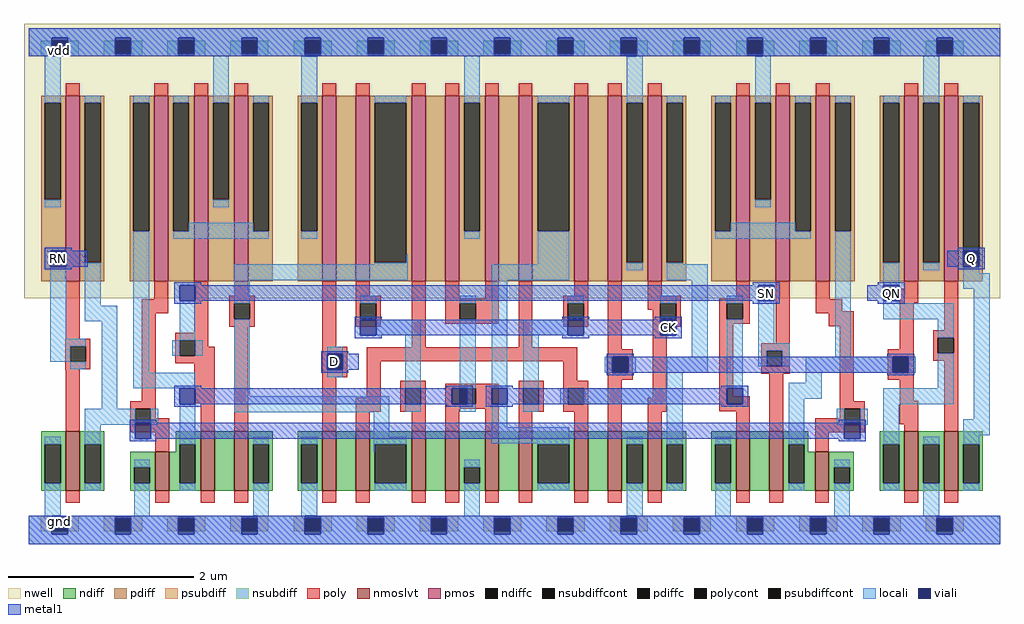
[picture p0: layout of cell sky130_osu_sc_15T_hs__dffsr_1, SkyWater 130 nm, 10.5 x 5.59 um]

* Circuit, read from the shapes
.subckt sky130_osu_sc_15T_hs__dffsr_1 D CK QN SN RN Q
XM1 n1 RN gnd gnd sky130_fd_pr__nfet_01v8_lvt w=0.64 l=0.15
XM2 n2 n1 gnd gnd sky130_fd_pr__nfet_01v8_lvt w=0.42 l=0.15
XM3 n3 SN n2 gnd sky130_fd_pr__nfet_01v8_lvt w=0.64 l=0.15
XM4 gnd n4 n3 gnd sky130_fd_pr__nfet_01v8_lvt w=0.64 l=0.15
XM5 n5 D gnd gnd sky130_fd_pr__nfet_01v8_lvt w=0.64 l=0.15
XM6 n4 n6 n5 gnd sky130_fd_pr__nfet_01v8_lvt w=0.64 l=0.15
XM7 n7 CK n4 gnd sky130_fd_pr__nfet_01v8_lvt w=0.64 l=0.15
XM8 gnd n2 n7 gnd sky130_fd_pr__nfet_01v8_lvt w=0.64 l=0.15
XM9 n8 n2 gnd gnd sky130_fd_pr__nfet_01v8_lvt w=0.64 l=0.15
XM10 n9 CK n8 gnd sky130_fd_pr__nfet_01v8_lvt w=0.64 l=0.15
XM11 n10 n6 n9 gnd sky130_fd_pr__nfet_01v8_lvt w=0.64 l=0.15
XM12 gnd n11 n10 gnd sky130_fd_pr__nfet_01v8_lvt w=0.64 l=0.15
XM13 n6 CK gnd gnd sky130_fd_pr__nfet_01v8_lvt w=0.64 l=0.15
XM14 n12 n9 gnd gnd sky130_fd_pr__nfet_01v8_lvt w=0.64 l=0.15
XM15 n11 SN n12 gnd sky130_fd_pr__nfet_01v8_lvt w=0.64 l=0.15
XM16 gnd n1 n11 gnd sky130_fd_pr__nfet_01v8_lvt w=0.42 l=0.15
XM17 gnd n11 QN gnd sky130_fd_pr__nfet_01v8_lvt w=0.64 l=0.15
XM18 Q QN gnd gnd sky130_fd_pr__nfet_01v8_lvt w=0.64 l=0.15
XM19 n1 RN vdd vdd sky130_fd_pr__pfet_01v8 w=2 l=0.15
XM20 n13 n1 n2 vdd sky130_fd_pr__pfet_01v8 w=2 l=0.15
XM21 vdd SN n13 vdd sky130_fd_pr__pfet_01v8 w=2 l=0.15
XM22 n13 n4 vdd vdd sky130_fd_pr__pfet_01v8 w=2 l=0.15
XM23 n14 D vdd vdd sky130_fd_pr__pfet_01v8 w=2 l=0.15
XM24 n4 CK n14 vdd sky130_fd_pr__pfet_01v8 w=2 l=0.15
XM25 n15 n6 n4 vdd sky130_fd_pr__pfet_01v8 w=2 l=0.15
XM26 vdd n2 n15 vdd sky130_fd_pr__pfet_01v8 w=2 l=0.15
XM27 n16 n2 vdd vdd sky130_fd_pr__pfet_01v8 w=2 l=0.15
XM28 n9 n6 n16 vdd sky130_fd_pr__pfet_01v8 w=2 l=0.15
XM29 n17 CK n9 vdd sky130_fd_pr__pfet_01v8 w=2 l=0.15
XM30 vdd n11 n17 vdd sky130_fd_pr__pfet_01v8 w=2 l=0.15
XM31 n6 CK vdd vdd sky130_fd_pr__pfet_01v8 w=2 l=0.15
XM32 vdd n9 n18 vdd sky130_fd_pr__pfet_01v8 w=2 l=0.15
XM33 n18 SN vdd vdd sky130_fd_pr__pfet_01v8 w=2 l=0.15
XM34 n11 n1 n18 vdd sky130_fd_pr__pfet_01v8 w=2 l=0.15
XM35 vdd n11 QN vdd sky130_fd_pr__pfet_01v8 w=2 l=0.15
XM36 Q QN vdd vdd sky130_fd_pr__pfet_01v8 w=2 l=0.15
.ends

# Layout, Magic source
magic
tech sky130A
magscale 1 2
<< nwell >>
rect -10 529 2090 1119
<< nmoslvt >>
rect 80 115 110 243
rect 272 115 302 199
rect 370 115 400 243
rect 442 115 472 243
rect 632 115 662 243
rect 704 115 734 243
rect 824 115 854 243
rect 896 115 926 243
rect 982 115 1012 243
rect 1054 115 1084 243
rect 1174 115 1204 243
rect 1246 115 1276 243
rect 1332 115 1362 243
rect 1522 115 1552 243
rect 1594 115 1624 243
rect 1692 115 1722 199
rect 1884 115 1914 243
rect 1970 115 2000 243
<< pmos >>
rect 80 565 110 965
rect 270 565 300 965
rect 356 565 386 965
rect 442 565 472 965
rect 632 565 662 965
rect 704 565 734 965
rect 824 565 854 965
rect 896 565 926 965
rect 982 565 1012 965
rect 1054 565 1084 965
rect 1174 565 1204 965
rect 1246 565 1276 965
rect 1332 565 1362 965
rect 1522 565 1552 965
rect 1608 565 1638 965
rect 1694 565 1724 965
rect 1884 565 1914 965
rect 1970 565 2000 965
<< ndiff >>
rect 27 215 80 243
rect 27 131 35 215
rect 69 131 80 215
rect 27 115 80 131
rect 110 215 163 243
rect 110 131 121 215
rect 155 131 163 215
rect 317 215 370 243
rect 317 199 325 215
rect 110 115 163 131
rect 219 165 272 199
rect 219 131 227 165
rect 261 131 272 165
rect 219 115 272 131
rect 302 131 325 199
rect 359 131 370 215
rect 302 115 370 131
rect 400 115 442 243
rect 472 215 525 243
rect 472 131 483 215
rect 517 131 525 215
rect 472 115 525 131
rect 579 215 632 243
rect 579 131 587 215
rect 621 131 632 215
rect 579 115 632 131
rect 662 115 704 243
rect 734 215 824 243
rect 734 131 745 215
rect 813 131 824 215
rect 734 115 824 131
rect 854 115 896 243
rect 926 165 982 243
rect 926 131 937 165
rect 971 131 982 165
rect 926 115 982 131
rect 1012 115 1054 243
rect 1084 215 1174 243
rect 1084 131 1095 215
rect 1163 131 1174 215
rect 1084 115 1174 131
rect 1204 115 1246 243
rect 1276 215 1332 243
rect 1276 131 1287 215
rect 1321 131 1332 215
rect 1276 115 1332 131
rect 1362 215 1415 243
rect 1362 131 1373 215
rect 1407 131 1415 215
rect 1362 115 1415 131
rect 1469 215 1522 243
rect 1469 131 1477 215
rect 1511 131 1522 215
rect 1469 115 1522 131
rect 1552 115 1594 243
rect 1624 215 1677 243
rect 1624 131 1635 215
rect 1669 199 1677 215
rect 1831 215 1884 243
rect 1669 131 1692 199
rect 1624 115 1692 131
rect 1722 165 1775 199
rect 1722 131 1733 165
rect 1767 131 1775 165
rect 1722 115 1775 131
rect 1831 131 1839 215
rect 1873 131 1884 215
rect 1831 115 1884 131
rect 1914 215 1970 243
rect 1914 131 1925 215
rect 1959 131 1970 215
rect 1914 115 1970 131
rect 2000 215 2053 243
rect 2000 131 2011 215
rect 2045 131 2053 215
rect 2000 115 2053 131
<< pdiff >>
rect 27 949 80 965
rect 27 741 35 949
rect 69 741 80 949
rect 27 565 80 741
rect 110 949 163 965
rect 110 605 121 949
rect 155 605 163 949
rect 110 565 163 605
rect 217 949 270 965
rect 217 673 225 949
rect 259 673 270 949
rect 217 565 270 673
rect 300 949 356 965
rect 300 673 311 949
rect 345 673 356 949
rect 300 565 356 673
rect 386 949 442 965
rect 386 741 397 949
rect 431 741 442 949
rect 386 565 442 741
rect 472 949 525 965
rect 472 673 483 949
rect 517 673 525 949
rect 472 565 525 673
rect 579 949 632 965
rect 579 673 587 949
rect 621 673 632 949
rect 579 565 632 673
rect 662 565 704 965
rect 734 949 824 965
rect 734 605 745 949
rect 813 605 824 949
rect 734 565 824 605
rect 854 565 896 965
rect 926 949 982 965
rect 926 673 937 949
rect 971 673 982 949
rect 926 565 982 673
rect 1012 565 1054 965
rect 1084 949 1174 965
rect 1084 673 1095 949
rect 1163 673 1174 949
rect 1084 565 1174 673
rect 1204 565 1246 965
rect 1276 949 1332 965
rect 1276 605 1287 949
rect 1321 605 1332 949
rect 1276 565 1332 605
rect 1362 949 1415 965
rect 1362 605 1373 949
rect 1407 605 1415 949
rect 1362 565 1415 605
rect 1469 949 1522 965
rect 1469 673 1477 949
rect 1511 673 1522 949
rect 1469 565 1522 673
rect 1552 949 1608 965
rect 1552 741 1563 949
rect 1597 741 1608 949
rect 1552 565 1608 741
rect 1638 949 1694 965
rect 1638 673 1649 949
rect 1683 673 1694 949
rect 1638 565 1694 673
rect 1724 949 1777 965
rect 1724 673 1735 949
rect 1769 673 1777 949
rect 1724 565 1777 673
rect 1831 949 1884 965
rect 1831 605 1839 949
rect 1873 605 1884 949
rect 1831 565 1884 605
rect 1914 949 1970 965
rect 1914 605 1925 949
rect 1959 605 1970 949
rect 1914 565 1970 605
rect 2000 949 2053 965
rect 2000 605 2011 949
rect 2045 605 2053 949
rect 2000 565 2053 605
<< ndiffc >>
rect 35 131 69 215
rect 121 131 155 215
rect 227 131 261 165
rect 325 131 359 215
rect 483 131 517 215
rect 587 131 621 215
rect 745 131 813 215
rect 937 131 971 165
rect 1095 131 1163 215
rect 1287 131 1321 215
rect 1373 131 1407 215
rect 1477 131 1511 215
rect 1635 131 1669 215
rect 1733 131 1767 165
rect 1839 131 1873 215
rect 1925 131 1959 215
rect 2011 131 2045 215
<< pdiffc >>
rect 35 741 69 949
rect 121 605 155 949
rect 225 673 259 949
rect 311 673 345 949
rect 397 741 431 949
rect 483 673 517 949
rect 587 673 621 949
rect 745 605 813 949
rect 937 673 971 949
rect 1095 673 1163 949
rect 1287 605 1321 949
rect 1373 605 1407 949
rect 1477 673 1511 949
rect 1563 741 1597 949
rect 1649 673 1683 949
rect 1735 673 1769 949
rect 1839 605 1873 949
rect 1925 605 1959 949
rect 2011 605 2045 949
<< psubdiff >>
rect 26 27 50 61
rect 84 27 108 61
rect 162 27 186 61
rect 220 27 244 61
rect 298 27 322 61
rect 356 27 380 61
rect 434 27 458 61
rect 492 27 516 61
rect 570 27 594 61
rect 628 27 652 61
rect 706 27 730 61
rect 764 27 788 61
rect 842 27 866 61
rect 900 27 924 61
rect 978 27 1002 61
rect 1036 27 1060 61
rect 1114 27 1138 61
rect 1172 27 1196 61
rect 1250 27 1274 61
rect 1308 27 1332 61
rect 1386 27 1410 61
rect 1444 27 1468 61
rect 1522 27 1546 61
rect 1580 27 1604 61
rect 1658 27 1682 61
rect 1716 27 1740 61
rect 1794 27 1818 61
rect 1852 27 1876 61
rect 1930 27 1954 61
rect 1988 27 2012 61
<< nsubdiff >>
rect 26 1049 50 1083
rect 84 1049 108 1083
rect 162 1049 186 1083
rect 220 1049 244 1083
rect 298 1049 322 1083
rect 356 1049 380 1083
rect 434 1049 458 1083
rect 492 1049 516 1083
rect 570 1049 594 1083
rect 628 1049 652 1083
rect 706 1049 730 1083
rect 764 1049 788 1083
rect 842 1049 866 1083
rect 900 1049 924 1083
rect 978 1049 1002 1083
rect 1036 1049 1060 1083
rect 1114 1049 1138 1083
rect 1172 1049 1196 1083
rect 1250 1049 1274 1083
rect 1308 1049 1332 1083
rect 1386 1049 1410 1083
rect 1444 1049 1468 1083
rect 1522 1049 1546 1083
rect 1580 1049 1604 1083
rect 1658 1049 1682 1083
rect 1716 1049 1740 1083
rect 1794 1049 1818 1083
rect 1852 1049 1876 1083
rect 1930 1049 1954 1083
rect 1988 1049 2012 1083
<< psubdiffcont >>
rect 50 27 84 61
rect 186 27 220 61
rect 322 27 356 61
rect 458 27 492 61
rect 594 27 628 61
rect 730 27 764 61
rect 866 27 900 61
rect 1002 27 1036 61
rect 1138 27 1172 61
rect 1274 27 1308 61
rect 1410 27 1444 61
rect 1546 27 1580 61
rect 1682 27 1716 61
rect 1818 27 1852 61
rect 1954 27 1988 61
<< nsubdiffcont >>
rect 50 1049 84 1083
rect 186 1049 220 1083
rect 322 1049 356 1083
rect 458 1049 492 1083
rect 594 1049 628 1083
rect 730 1049 764 1083
rect 866 1049 900 1083
rect 1002 1049 1036 1083
rect 1138 1049 1172 1083
rect 1274 1049 1308 1083
rect 1410 1049 1444 1083
rect 1546 1049 1580 1083
rect 1682 1049 1716 1083
rect 1818 1049 1852 1083
rect 1954 1049 1988 1083
<< poly >>
rect 80 965 110 991
rect 270 965 300 991
rect 356 965 386 991
rect 442 965 472 991
rect 632 965 662 991
rect 704 965 734 991
rect 824 965 854 991
rect 896 965 926 991
rect 982 965 1012 991
rect 1054 965 1084 991
rect 1174 965 1204 991
rect 1246 965 1276 991
rect 1332 965 1362 991
rect 1522 965 1552 991
rect 1608 965 1638 991
rect 1694 965 1724 991
rect 1884 965 1914 991
rect 1970 965 2000 991
rect 80 442 110 565
rect 270 527 300 565
rect 243 497 300 527
rect 79 426 133 442
rect 79 392 89 426
rect 123 392 133 426
rect 79 376 133 392
rect 79 375 110 376
rect 80 243 110 375
rect 243 307 273 497
rect 356 455 386 565
rect 442 534 472 565
rect 432 518 486 534
rect 432 484 442 518
rect 476 484 486 518
rect 432 468 486 484
rect 315 439 386 455
rect 315 405 325 439
rect 359 425 386 439
rect 359 405 400 425
rect 315 389 400 405
rect 219 291 273 307
rect 356 303 400 389
rect 219 257 229 291
rect 263 271 273 291
rect 263 257 302 271
rect 219 241 302 257
rect 370 243 400 303
rect 442 243 472 468
rect 632 425 662 565
rect 704 534 734 565
rect 704 518 758 534
rect 704 484 714 518
rect 748 484 758 518
rect 704 468 758 484
rect 632 409 686 425
rect 824 423 854 565
rect 896 528 926 565
rect 982 528 1012 565
rect 896 518 1012 528
rect 896 484 928 518
rect 962 484 1012 518
rect 896 474 1012 484
rect 1054 423 1084 565
rect 1174 534 1204 565
rect 1150 518 1204 534
rect 1150 484 1160 518
rect 1194 484 1204 518
rect 1150 468 1204 484
rect 632 375 642 409
rect 676 375 686 409
rect 632 359 686 375
rect 728 393 1180 423
rect 632 243 662 359
rect 728 315 758 393
rect 1150 351 1180 393
rect 1246 419 1276 565
rect 1332 534 1362 565
rect 1332 518 1403 534
rect 1522 528 1552 565
rect 1332 504 1359 518
rect 1343 484 1359 504
rect 1393 484 1403 518
rect 1343 468 1403 484
rect 1486 518 1552 528
rect 1486 484 1502 518
rect 1536 484 1552 518
rect 1486 474 1552 484
rect 1246 403 1300 419
rect 1246 369 1256 403
rect 1290 369 1300 403
rect 1246 353 1300 369
rect 704 285 758 315
rect 800 335 854 351
rect 800 301 810 335
rect 844 301 854 335
rect 800 285 854 301
rect 704 243 734 285
rect 824 243 854 285
rect 896 335 1012 345
rect 896 301 928 335
rect 962 301 1012 335
rect 896 291 1012 301
rect 896 243 926 291
rect 982 243 1012 291
rect 1054 335 1108 351
rect 1054 301 1064 335
rect 1098 301 1108 335
rect 1054 285 1108 301
rect 1150 335 1204 351
rect 1150 301 1160 335
rect 1194 301 1204 335
rect 1150 285 1204 301
rect 1054 243 1084 285
rect 1174 243 1204 285
rect 1246 243 1276 353
rect 1343 315 1373 468
rect 1332 285 1373 315
rect 1486 318 1516 474
rect 1608 432 1638 565
rect 1694 527 1724 565
rect 1884 549 1914 565
rect 1694 501 1751 527
rect 1874 519 1914 549
rect 1694 497 1775 501
rect 1721 469 1775 497
rect 1576 416 1638 432
rect 1576 382 1588 416
rect 1622 382 1638 416
rect 1576 366 1638 382
rect 1486 286 1552 318
rect 1332 243 1362 285
rect 1522 243 1552 286
rect 1594 243 1624 366
rect 1745 307 1775 469
rect 1874 419 1904 519
rect 1970 460 2000 565
rect 1849 403 1904 419
rect 1849 369 1859 403
rect 1893 369 1904 403
rect 1946 444 2000 460
rect 1946 410 1956 444
rect 1990 410 2000 444
rect 1946 394 2000 410
rect 1849 353 1904 369
rect 1874 308 1904 353
rect 1745 291 1799 307
rect 1745 271 1755 291
rect 1692 257 1755 271
rect 1789 257 1799 291
rect 1874 258 1914 308
rect 272 199 302 241
rect 1692 241 1799 257
rect 1884 243 1914 258
rect 1970 243 2000 394
rect 1692 199 1722 241
rect 80 89 110 115
rect 272 89 302 115
rect 370 89 400 115
rect 442 89 472 115
rect 632 89 662 115
rect 704 89 734 115
rect 824 89 854 115
rect 896 89 926 115
rect 982 89 1012 115
rect 1054 89 1084 115
rect 1174 89 1204 115
rect 1246 89 1276 115
rect 1332 89 1362 115
rect 1522 89 1552 115
rect 1594 89 1624 115
rect 1692 89 1722 115
rect 1884 89 1914 115
rect 1970 89 2000 115
<< polycont >>
rect 89 392 123 426
rect 442 484 476 518
rect 325 405 359 439
rect 229 257 263 291
rect 714 484 748 518
rect 928 484 962 518
rect 1160 484 1194 518
rect 642 375 676 409
rect 1359 484 1393 518
rect 1502 484 1536 518
rect 1256 369 1290 403
rect 810 301 844 335
rect 928 301 962 335
rect 1064 301 1098 335
rect 1160 301 1194 335
rect 1588 382 1622 416
rect 1859 369 1893 403
rect 1956 410 1990 444
rect 1755 257 1789 291
<< locali >>
rect 0 1089 2090 1110
rect 0 1049 50 1089
rect 84 1049 186 1089
rect 220 1049 322 1089
rect 356 1049 458 1089
rect 492 1049 594 1089
rect 628 1049 730 1089
rect 764 1049 866 1089
rect 900 1049 1002 1089
rect 1036 1049 1138 1089
rect 1172 1049 1274 1089
rect 1308 1049 1410 1089
rect 1444 1049 1546 1089
rect 1580 1049 1682 1089
rect 1716 1049 1818 1089
rect 1852 1049 1954 1089
rect 1988 1049 2090 1089
rect 35 949 69 1049
rect 35 725 69 741
rect 121 949 155 965
rect 47 442 81 597
rect 121 513 155 605
rect 225 949 259 965
rect 121 479 191 513
rect 47 426 123 442
rect 47 392 89 426
rect 89 376 123 392
rect 157 291 191 479
rect 225 369 259 673
rect 311 949 345 965
rect 397 949 431 1049
rect 397 725 431 741
rect 483 949 517 965
rect 345 673 483 691
rect 311 657 517 673
rect 587 949 621 1049
rect 587 657 621 673
rect 745 949 813 965
rect 937 949 971 1049
rect 937 657 971 673
rect 1095 949 1163 965
rect 813 605 816 623
rect 745 602 816 605
rect 1095 602 1163 673
rect 442 568 816 602
rect 996 568 1163 602
rect 1287 949 1321 1049
rect 1287 589 1321 605
rect 1373 949 1407 965
rect 1477 949 1511 965
rect 1563 949 1597 1049
rect 1563 725 1597 741
rect 1649 949 1683 965
rect 1511 673 1649 691
rect 1477 657 1683 673
rect 1735 949 1769 965
rect 1373 602 1407 605
rect 1373 568 1461 602
rect 325 439 359 523
rect 442 518 476 568
rect 309 405 325 439
rect 359 405 375 439
rect 225 335 359 369
rect 121 257 229 291
rect 263 257 279 291
rect 35 215 69 231
rect 35 61 69 131
rect 121 215 155 257
rect 325 215 359 301
rect 442 318 476 484
rect 714 518 748 534
rect 714 483 748 484
rect 928 518 962 534
rect 748 449 844 483
rect 642 409 676 425
rect 642 359 676 375
rect 810 335 844 449
rect 928 335 962 484
rect 442 284 776 318
rect 810 285 844 301
rect 928 285 962 301
rect 996 335 1030 568
rect 1160 518 1194 534
rect 1160 483 1194 484
rect 742 231 776 284
rect 996 251 1030 301
rect 1064 449 1160 483
rect 1359 518 1393 534
rect 1359 483 1393 484
rect 1064 335 1098 449
rect 1427 403 1461 568
rect 1240 369 1256 403
rect 1290 369 1306 403
rect 1373 369 1461 403
rect 1502 518 1536 534
rect 1373 335 1407 369
rect 1144 301 1160 335
rect 1194 301 1407 335
rect 1502 335 1536 484
rect 1570 432 1604 523
rect 1570 416 1638 432
rect 1570 382 1588 416
rect 1622 382 1638 416
rect 1735 403 1769 673
rect 1839 949 1873 965
rect 1839 557 1873 605
rect 1925 949 1959 1049
rect 1925 589 1959 605
rect 2011 949 2045 965
rect 2011 583 2045 597
rect 2011 549 2068 583
rect 1839 518 1873 523
rect 1839 484 1990 518
rect 1956 444 1990 484
rect 1672 369 1859 403
rect 1893 369 1909 403
rect 1672 347 1706 369
rect 1635 313 1706 347
rect 1956 335 1990 410
rect 1064 285 1098 301
rect 121 115 155 131
rect 227 165 261 181
rect 227 61 261 131
rect 325 115 359 131
rect 483 215 517 231
rect 483 61 517 131
rect 587 215 621 231
rect 742 215 813 231
rect 996 217 1163 251
rect 742 197 745 215
rect 587 61 621 131
rect 1095 215 1163 217
rect 745 115 813 131
rect 937 165 971 181
rect 937 61 971 131
rect 1095 115 1163 131
rect 1287 215 1321 231
rect 1287 61 1321 131
rect 1373 215 1407 301
rect 1373 115 1407 131
rect 1477 215 1511 231
rect 1477 61 1511 131
rect 1635 215 1669 313
rect 1839 301 1990 335
rect 1739 257 1755 291
rect 1789 257 1805 291
rect 1839 215 1873 301
rect 2034 268 2068 549
rect 2011 234 2068 268
rect 1635 115 1669 131
rect 1733 165 1767 181
rect 1733 61 1767 131
rect 1839 115 1873 131
rect 1925 215 1959 231
rect 1925 61 1959 131
rect 2011 215 2045 234
rect 2011 115 2045 131
rect 0 21 50 61
rect 84 21 186 61
rect 220 21 322 61
rect 356 21 458 61
rect 492 21 594 61
rect 628 21 730 61
rect 764 21 866 61
rect 900 21 1002 61
rect 1036 21 1138 61
rect 1172 21 1274 61
rect 1308 21 1410 61
rect 1444 21 1546 61
rect 1580 21 1682 61
rect 1716 21 1818 61
rect 1852 21 1954 61
rect 1988 21 2090 61
rect 0 0 2090 21
<< viali >>
rect 50 1083 84 1089
rect 50 1055 84 1083
rect 186 1083 220 1089
rect 186 1055 220 1083
rect 322 1083 356 1089
rect 322 1055 356 1083
rect 458 1083 492 1089
rect 458 1055 492 1083
rect 594 1083 628 1089
rect 594 1055 628 1083
rect 730 1083 764 1089
rect 730 1055 764 1083
rect 866 1083 900 1089
rect 866 1055 900 1083
rect 1002 1083 1036 1089
rect 1002 1055 1036 1083
rect 1138 1083 1172 1089
rect 1138 1055 1172 1083
rect 1274 1083 1308 1089
rect 1274 1055 1308 1083
rect 1410 1083 1444 1089
rect 1410 1055 1444 1083
rect 1546 1083 1580 1089
rect 1546 1055 1580 1083
rect 1682 1083 1716 1089
rect 1682 1055 1716 1083
rect 1818 1083 1852 1089
rect 1818 1055 1852 1083
rect 1954 1083 1988 1089
rect 1954 1055 1988 1083
rect 47 597 81 631
rect 325 523 359 557
rect 325 301 359 335
rect 229 257 263 261
rect 229 227 263 257
rect 714 449 748 483
rect 642 375 676 409
rect 910 301 928 335
rect 928 301 944 335
rect 996 301 1030 335
rect 1160 449 1194 483
rect 1359 449 1393 483
rect 1256 369 1290 403
rect 1570 523 1604 557
rect 2011 605 2045 631
rect 2011 597 2045 605
rect 1839 523 1873 557
rect 1859 369 1893 403
rect 1502 301 1536 335
rect 1755 257 1789 261
rect 1755 227 1789 257
rect 50 27 84 55
rect 50 21 84 27
rect 186 27 220 55
rect 186 21 220 27
rect 322 27 356 55
rect 322 21 356 27
rect 458 27 492 55
rect 458 21 492 27
rect 594 27 628 55
rect 594 21 628 27
rect 730 27 764 55
rect 730 21 764 27
rect 866 27 900 55
rect 866 21 900 27
rect 1002 27 1036 55
rect 1002 21 1036 27
rect 1138 27 1172 55
rect 1138 21 1172 27
rect 1274 27 1308 55
rect 1274 21 1308 27
rect 1410 27 1444 55
rect 1410 21 1444 27
rect 1546 27 1580 55
rect 1546 21 1580 27
rect 1682 27 1716 55
rect 1682 21 1716 27
rect 1818 27 1852 55
rect 1818 21 1852 27
rect 1954 27 1988 55
rect 1954 21 1988 27
<< metal1 >>
rect 0 1089 2090 1110
rect 0 1055 50 1089
rect 84 1055 186 1089
rect 220 1055 322 1089
rect 356 1055 458 1089
rect 492 1055 594 1089
rect 628 1055 730 1089
rect 764 1055 866 1089
rect 900 1055 1002 1089
rect 1036 1055 1138 1089
rect 1172 1055 1274 1089
rect 1308 1055 1410 1089
rect 1444 1055 1546 1089
rect 1580 1055 1682 1089
rect 1716 1055 1818 1089
rect 1852 1055 1954 1089
rect 1988 1055 2090 1089
rect 0 1049 2090 1055
rect 35 631 93 637
rect 1999 631 2057 637
rect 35 597 47 631
rect 81 597 127 631
rect 1977 597 2011 631
rect 2045 597 2057 631
rect 35 591 93 597
rect 1999 591 2057 597
rect 313 557 371 563
rect 1558 557 1616 563
rect 1827 557 1885 563
rect 313 523 325 557
rect 359 523 1570 557
rect 1604 523 1616 557
rect 1804 523 1839 557
rect 1873 523 1885 557
rect 313 517 371 523
rect 1558 517 1616 523
rect 1827 517 1885 523
rect 702 483 760 489
rect 1148 483 1206 489
rect 1347 483 1405 489
rect 702 449 714 483
rect 748 449 1160 483
rect 1194 449 1359 483
rect 1393 449 1405 483
rect 702 443 760 449
rect 1148 443 1206 449
rect 1347 443 1405 449
rect 630 409 688 415
rect 630 375 642 409
rect 676 375 710 409
rect 1244 403 1302 409
rect 1847 403 1905 409
rect 630 369 688 375
rect 1244 369 1256 403
rect 1290 369 1859 403
rect 1893 369 1905 403
rect 1244 363 1302 369
rect 1847 363 1905 369
rect 313 335 371 341
rect 898 335 956 341
rect 313 301 325 335
rect 359 301 910 335
rect 944 301 956 335
rect 313 295 371 301
rect 898 295 956 301
rect 984 335 1042 341
rect 1490 335 1548 341
rect 984 301 996 335
rect 1030 301 1502 335
rect 1536 301 1548 335
rect 984 295 1042 301
rect 1490 295 1548 301
rect 217 261 275 267
rect 1743 261 1801 267
rect 217 227 229 261
rect 263 227 1755 261
rect 1789 227 1801 261
rect 217 221 275 227
rect 1743 221 1801 227
rect 0 55 2090 61
rect 0 21 50 55
rect 84 21 186 55
rect 220 21 322 55
rect 356 21 458 55
rect 492 21 594 55
rect 628 21 730 55
rect 764 21 866 55
rect 900 21 1002 55
rect 1036 21 1138 55
rect 1172 21 1274 55
rect 1308 21 1410 55
rect 1444 21 1546 55
rect 1580 21 1682 55
rect 1716 21 1818 55
rect 1852 21 1954 55
rect 1988 21 2090 55
rect 0 0 2090 21
<< labels >>
rlabel viali 659 392 659 392 1 D
port 1 n
rlabel viali 1376 466 1376 466 1 CK
port 2 n
rlabel viali 1857 540 1857 540 1 QN
port 3 n
rlabel viali 1587 540 1587 540 1 SN
port 4 n
rlabel viali 65 614 65 614 1 RN
port 5 n
rlabel viali 2028 614 2028 614 1 Q
port 6 n
rlabel viali 67 48 67 48 1 gnd
rlabel viali 67 1062 67 1062 1 vdd
<< end >>
